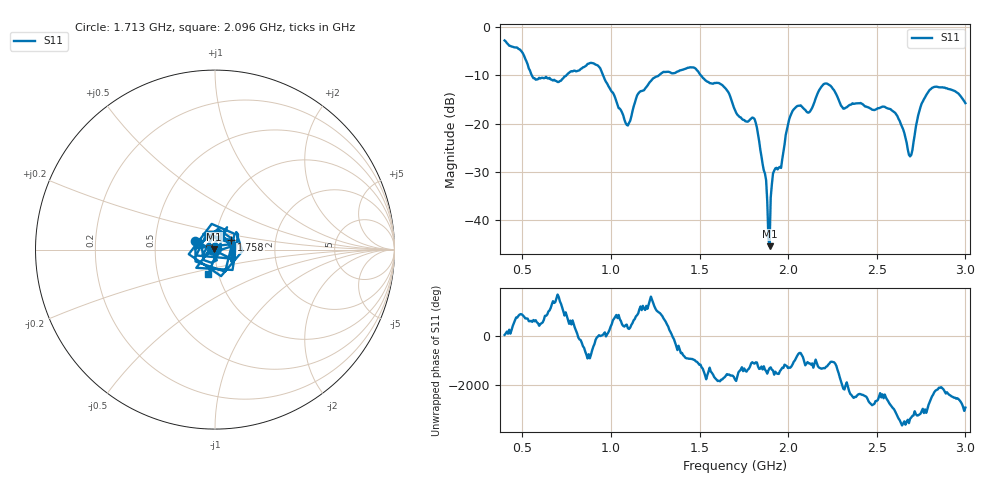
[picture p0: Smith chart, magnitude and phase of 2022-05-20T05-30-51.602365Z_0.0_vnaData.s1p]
!Created with skrf (http://scikit-rf.org).
# Hz S RI R 50.0
!freq ReS11 ImS11
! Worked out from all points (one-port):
!   401 points, 400 MHz to 3 GHz, reference 50 ohm
!   lowest |S11| = -45.4 dB at 1.895 GHz (marker M1), VSWR 1.01, Z = 49.6 + j0.362 ohm
!   |S11| at or under -10 dB: 553.3 MHz to 749 MHz (195.7 MHz wide, 30.1 % of centre); 954.9 MHz to 1.271 GHz (316.5 MHz wide, 28.4 % of centre); 1.507 GHz to end of sweep
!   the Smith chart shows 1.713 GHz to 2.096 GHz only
!   S11 on the Smith chart (normalised r, x): 1.713 GHz: 0.79, +0.08; 1.758 GHz: 1.19, +0.13; 2.096 GHz: 0.90, -0.24
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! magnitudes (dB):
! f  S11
! 400 MHz  -2.8
! 497.5 MHz  -5.1
! 569 MHz  -10.6
! 725 MHz  -10.8
! 913.5 MHz  -7.8
! 1.05 GHz  -16.9
! 1.095 GHz  -20.4
! 1.161 GHz  -13.5
! 1.375 GHz  -9.2
! 1.622 GHz  -11.9
! 1.7 GHz  -17.2
! 1.713 GHz  -18.2
! 1.758 GHz  -19.5
! 1.817 GHz  -19.8
! 1.882 GHz  -36.1
! 1.895 GHz  -45.4
! 1.921 GHz  -29.8
! 1.96 GHz  -29.2
! 2.025 GHz  -17.4
! 2.096 GHz  -17.2
! 2.213 GHz  -11.7
! 2.35 GHz  -16.1
! 2.591 GHz  -17.4
! 2.675 GHz  -25.4
! 2.695 GHz  -26.5
! 2.747 GHz  -16.6
! 2.812 GHz  -12.6
! 3 GHz  -15.8
